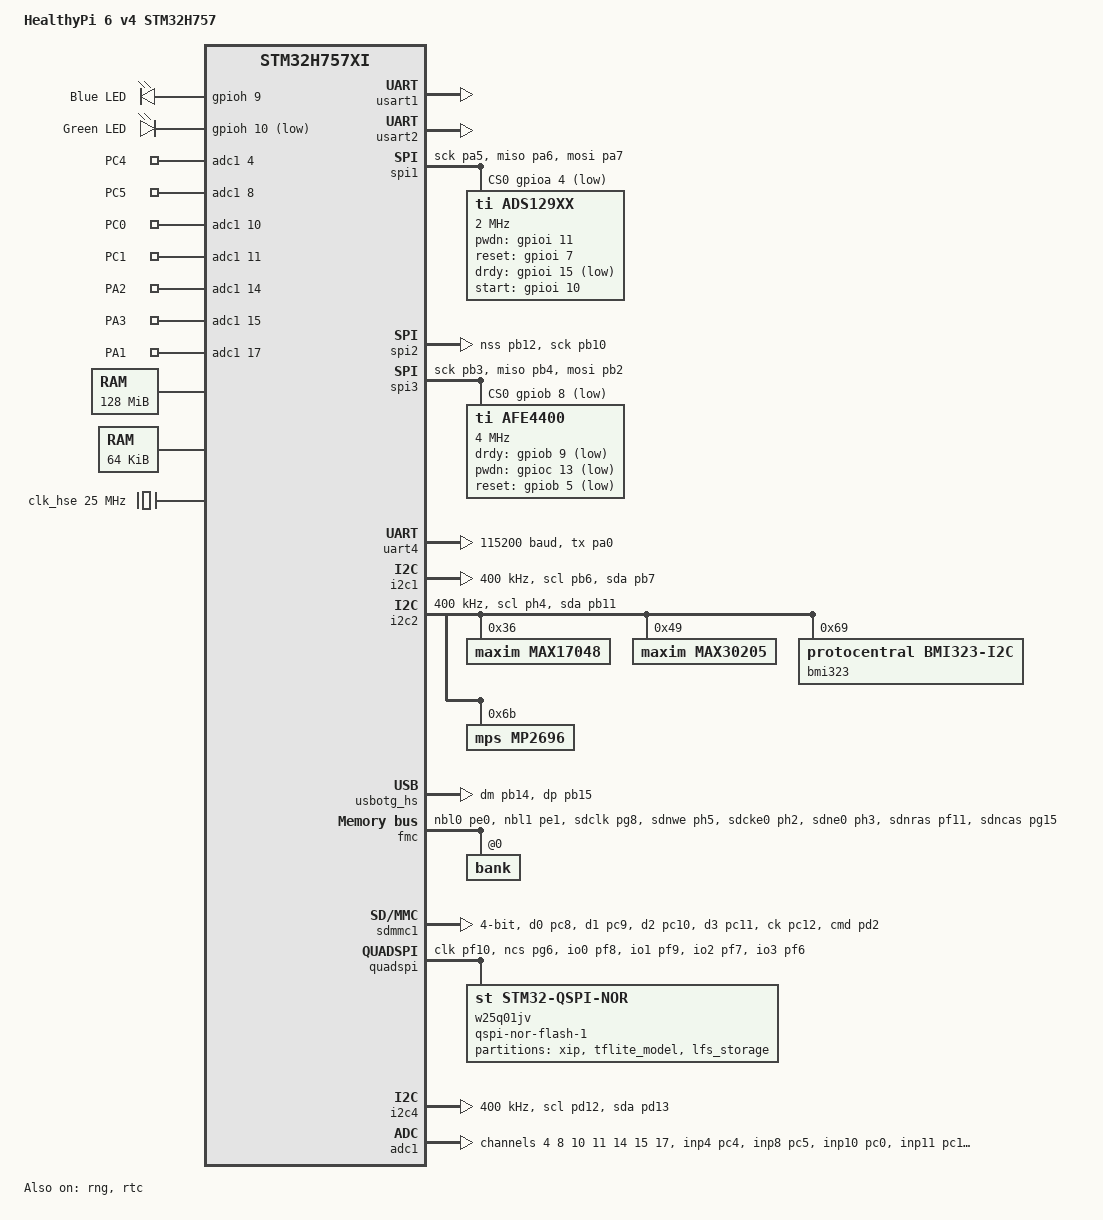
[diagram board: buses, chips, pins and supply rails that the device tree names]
/*
 * Copyright (c) 2019 Linaro Limited
 * Copyright (c) 2025-2026 ProtoCentral
 *
 * SPDX-License-Identifier: Apache-2.0
 */

/dts-v1/;
#include <st/h7/stm32h757Xi_m7.dtsi>
#include <st/h7/stm32h757bitx-pinctrl.dtsi>
#include <zephyr/dt-bindings/memory-attr/memory-attr-arm.h>
#include <zephyr/dt-bindings/adc/adc.h>
#include "healthypi6_v4.dtsi"

/* Custom pinctrl for UART4 RX - no pull-up (external resistor on board if needed) */
&pinctrl {
	uart4_rx_pi9_nopull: uart4_rx_pi9_nopull {
		pinmux = <STM32_PINMUX('I', 9, AF8)>;
		/* bias-pull-up disabled - rely on external pull-up if needed */
	};
};

/ {
	model = "HealthyPi 6 v4 STM32H757";
	compatible = "protocentral,healthypi6_v4";

	/* HW resources are split between CM7 and CM4 */
	chosen {
		zephyr,console = &usart1;
		zephyr,shell-uart = &usart1;
		zephyr,sram = &sram0;
		zephyr,flash = &flash0;
		zephyr,flash-controller = &w25q01jv;
		/* CDC 0 (cdc_acm_uart0) carries the one-way sample stream;
		 * CDC 1 (cdc_acm_uart1) carries MCUmgr SMP request/response. */
		zephyr,uart-mcumgr = &cdc_acm_uart1;
	};

	leds {
		compatible = "gpio-leds";
		blue_led: led_blue {
			gpios = <&gpioh 9 GPIO_ACTIVE_HIGH>;
			label = "Blue LED";
			status = "okay";
		};
		green_led: led_green {
			/* v4 hardware: LED is wired between VDD and PH10 via
			 * a current-limit resistor, so the pin sinks current
			 * when driven LOW = LED on. Declaring ACTIVE_LOW lets
			 * drivers use the polarity-agnostic GPIO_OUTPUT_ACTIVE
			 * / GPIO_OUTPUT_INACTIVE flags without inverting at
			 * each call site.
			 */
			gpios = <&gpioh 10 GPIO_ACTIVE_LOW>;
			label = "Green LED";
			status = "okay";
		};
	};

	/* HealthyLink per-slot power/fault/detect are modeled as
	 * "protocentral,healthylink-slot" nodes (healthylink_slot_a / _b) in
	 * healthypi6_v4.dtsi, alongside the healthylink controller + EEPROM. */

	aliases {
		blue-led = &blue_led;
		green-led = &green_led;
		/* Zephyr MCUmgr's os/datetime handler looks up the RTC via
		 * DT_ALIAS(rtc). Without this alias, datetime_get/set return
		 * ENOENT from the stock handler. */
		rtc = &rtc;
	};

	/* Expansion analog inputs (PA4-PA7 carry SPI1 instead). */
	zephyr,user {
		io-channels = <&adc1 4>,   /* PC4 - INP4 */
		              <&adc1 8>,   /* PC5 - INP8 */
		              <&adc1 10>,  /* PC0 - INP10 */
		              <&adc1 11>,  /* PC1 - INP11 */
		              <&adc1 14>,  /* PA2 - INP14 */
		              <&adc1 15>,  /* PA3 - INP15 */
		              <&adc1 17>;  /* PA1 - INP17 */
		io-channel-names = "PC4", "PC5", "PC0", "PC1",
		                   "PA2", "PA3", "PA1";
	};

	/* W9825G6KH SDRAM: 4M x 4 banks x 16 bits = 32 Megabytes
	 * Single chip connected to FMC SDRAM Bank 0 (SDNE0/SDCKE0)
	 * Address range: 0xC0000000 - 0xC1FFFFFF (32 MB)
	 */
	sdram1: sdram@c0000000 {
		compatible = "zephyr,memory-region", "mmio-sram";
		device_type = "memory";
		reg = <0xc0000000 DT_SIZE_M(32)>;  /* Full 32 MB of W9825G6KH */
		zephyr,memory-region = "SDRAM1";
		zephyr,memory-attr = <( DT_MEM_ARM(ATTR_MPU_RAM) )>;
	};

	ext_memory: memory@90000000 {
		compatible = "zephyr,memory-region";
		reg = <0x90000000 DT_SIZE_M(128)>; /* 1 Gbits */
		zephyr,memory-region = "EXTMEM";
		/* The ATTR_MPU_EXTMEM attribut causing a MPU FAULT */
		zephyr,memory-attr = <( DT_MEM_ARM(ATTR_MPU_IO) )>;
	};

	// IPC between CM7 and CM4 - OpenAMP/RPMSG Implementation
	// OpenAMP manages memory internally with static VRINGs (no dynamic allocation)
	sram_ipc: memory@38000000 {
		 zephyr,memory-region = "SRAM_IPC";
		 compatible = "zephyr,memory-region", "mmio-sram";
		 reg = <0x38000000 0x10000>;  // 64 KB total (full SRAM4)
		 zephyr,memory-attr = <( DT_MEM_ARM(ATTR_MPU_RAM_NOCACHE) )>;
	 };

	ipc0: ipc0 {
		compatible = "zephyr,ipc-openamp-static-vrings";
		memory-region = <&sram_ipc>;
		mboxes = <&mailbox 11>, <&mailbox 10>;
		mbox-names = "tx", "rx";
		role = "host";  // M7 is OpenAMP host, M4 is remote
		zephyr,buffer-size = <512>;  // Match largest message (ECG: 452 bytes)
		status = "okay";
	};
};

&clk_hse {
	clock-frequency = <DT_FREQ_M(25)>;
	status = "okay";
};

/* LSE 32.768 kHz crystal for RTC - battery-backed via VBAT pin */
&clk_lse {
	status = "okay";
	driving-capability = <3>;
};

&clk_hsi48 {
	status = "okay";
};

/* PLL1: 25 MHz / 5 = 5 MHz input × 160 = 800 MHz VCO
 *   P = 800/2 = 400 MHz (SYSCLK)
 *   Q = 800/4 = 200 MHz
 *   R = 800/2 = 400 MHz
 */
&pll {
	div-m = <5>;
	mul-n = <160>;
	div-p = <2>;
	div-q = <4>;
	div-r = <2>;
	clocks = <&clk_hse>;
	status = "okay";
};

/* PLL2: 25 MHz / 5 = 5 MHz input × 96 = 480 MHz VCO
 *   R = 480/10 = 48 MHz (SDMMC clock)
 */
&pll2 {
	div-m = <5>;
	mul-n = <96>;
	div-p = <2>;
	div-q = <4>;
	div-r = <10>;
	clocks = <&clk_hse>;
	status = "okay";
};

&rcc {
	clocks = <&pll>;
	clock-frequency = <DT_FREQ_M(400)>;
};

&usart1 {
	status = "okay";
};

&usart2 {
	status = "okay";
};

&spi1 {
	status = "okay";
	pinctrl-0 = <&spi1_sck_pa5 &spi1_miso_pa6 &spi1_mosi_pa7>;
	pinctrl-names = "default";
	cs-gpios = <&gpioa 4 GPIO_ACTIVE_LOW>;

	ads129xx: ads129xx@0 {
		compatible = "ti,ads129xx";
		reg = <0x00>;
		spi-max-frequency = <DT_FREQ_M(2)>;

		pwdn-gpios = <&gpioi 11 GPIO_ACTIVE_HIGH>;
		reset-gpios = <&gpioi 7 GPIO_ACTIVE_HIGH>;
		drdy-gpios = <&gpioi 15 GPIO_ACTIVE_LOW>;
		start-gpios = <&gpioi 10 GPIO_ACTIVE_HIGH>;

		gain = <6>;

		status = "okay";
	};
};

/* Enable DMA controllers for SPI2 */
&dma1 {
	status = "okay";
};

&dma2 {
	status = "okay";
};

&dmamux1 {
	status = "okay";
};

&spi2 {
	status = "okay";
	/* SPI2 configured for MASTER MODE to drive the ESP32-C6 (clock sourced from M7) */
	pinctrl-0 = <&spi2_nss_pb12 &spi2_sck_pb10
				&spi2_miso_pc2_c &spi2_mosi_pc3_c>;
	pinctrl-names = "default";

	/* DMA configuration for SPI2 */
	dmas = <&dmamux1 0 40 (STM32_DMA_PERIPH_TX | STM32_DMA_PRIORITY_HIGH)>,
		   <&dmamux1 1 39 (STM32_DMA_PERIPH_RX | STM32_DMA_PRIORITY_HIGH)>;
	dma-names = "tx", "rx";
};

&spi3 {
    status = "okay";
    pinctrl-0 = <&spi3_sck_pb3
		&spi3_miso_pb4 &spi3_mosi_pb2>;
    pinctrl-names = "default";
    cs-gpios = <&gpiob 8 GPIO_ACTIVE_LOW>;

	afe4400: afe4400@0 {
		label = "AFE4400";
		status = "okay";
		compatible = "ti,afe4400";
		reg = <0>;
		spi-max-frequency = <DT_FREQ_M(4)>;
		drdy-gpios = <&gpiob 9 GPIO_ACTIVE_LOW>;
		pwdn-gpios = <&gpioc 13 GPIO_ACTIVE_LOW>;
		reset-gpios = <&gpiob 5 GPIO_ACTIVE_LOW>;
	};
};

&uart4 {
	/* UART4 for MCUmgr SMP transport (ESP32 TCP-to-UART gateway)
	 * NOTE: DMA intentionally disabled for MCUmgr. Using interrupt-driven mode.
	 * FIFO enabled to reduce RX overrun when receiving SMP packets.
	 */
	status = "okay";
	pinctrl-0 = <&uart4_tx_pa0 &uart4_rx_pi9_nopull>;
	pinctrl-names = "default";
	current-speed = <115200>;
	fifo-enable;
};

&i2c1 {
	status = "okay";
	compatible = "st,stm32-i2c-v2";
	pinctrl-0 = <&i2c1_scl_pb6 &i2c1_sda_pb7>;
	pinctrl-names = "default";
	clock-frequency = <I2C_BITRATE_FAST>;
	sq-size = <1024>;
	cq-size = <1024>;
};


&i2c2 {
	status = "okay";
	pinctrl-0 = <&i2c2_scl_ph4 &i2c2_sda_pb11>;
	pinctrl-names = "default";
	clock-frequency = <I2C_BITRATE_FAST>;

	max17048: max17048@36 {
		compatible = "maxim,max17048";
		status = "okay";
		reg = <0x36>;
	};

	max30205: max30205@49 {
		compatible = "maxim,max30205";
		status = "okay";
		reg = <0x49>;
	};

	/* Bosch BMI323 6-axis IMU. SDO is strapped high on v4, so the
	 * 7-bit address is 0x69. Uses the local I2C fork of the upstream
	 * (SPI-only) bosch,bmi323 driver.
	 */
	bmi323: imu@69 {
		compatible = "protocentral,bmi323-i2c";
		status = "okay";
		reg = <0x69>;
	};

	/* MPS MP2696B single-cell Li-ion switching charger with boost. */
	mp2696: charger@6b {
		compatible = "mps,mp2696";
		status = "okay";
		reg = <0x6b>;
	};
};

&usbotg_hs {
	status = "okay";
};

&flash0 {
	partitions {
		compatible = "fixed-partitions";
		#address-cells = <1>;
		#size-cells = <1>;

		/* Set 2KB of storage at the end of first 1MB flash */
		storage_partition: partition@ff800 {
			label = "storage";
			reg = <0x000ff800 DT_SIZE_K(2)>;
		};
	};
};

&rng {
	status = "okay";
};

/* FMC Configuration for W9825G6KH SDRAM (32 MB) */
&fmc {
	status = "okay";
	pinctrl-0 = <&fmc_nbl0_pe0 &fmc_nbl1_pe1
	&fmc_sdclk_pg8 &fmc_sdnwe_ph5 &fmc_sdcke0_ph2
	&fmc_sdne0_ph3 &fmc_sdnras_pf11 &fmc_sdncas_pg15

	&fmc_a0_pf0 &fmc_a1_pf1 &fmc_a2_pf2 &fmc_a3_pf3 &fmc_a4_pf4
	&fmc_a5_pf5 &fmc_a6_pf12 &fmc_a7_pf13 &fmc_a8_pf14
	&fmc_a9_pf15 &fmc_a10_pg0 &fmc_a11_pg1 &fmc_a12_pg2
	/* BA0 */ &fmc_a14_pg4 /*BA1 */ &fmc_a15_pg5

	&fmc_d0_pd14 &fmc_d1_pd15 &fmc_d2_pd0 &fmc_d3_pd1
	&fmc_d4_pe7 &fmc_d5_pe8 &fmc_d6_pe9 &fmc_d7_pe10
	&fmc_d8_pe11 &fmc_d9_pe12 &fmc_d10_pe13 &fmc_d11_pe14
	&fmc_d12_pe15 &fmc_d13_pd8 &fmc_d14_pd9 &fmc_d15_pd10>;
	pinctrl-names = "default";

	sdram {
		status = "okay";

		power-up-delay = <100>;
		num-auto-refresh = <8>;
		mode-register = <0x220>;
		refresh-rate = <603>;

		/* W9825G6KH on FMC Bank 0 (SDNE0/SDCKE0) @ 0xC0000000 */
		bank@0 {
			reg = <0>;
			st,sdram-control = <STM32_FMC_SDRAM_NC_9
			STM32_FMC_SDRAM_NR_13
			STM32_FMC_SDRAM_MWID_16
			STM32_FMC_SDRAM_NB_4
			STM32_FMC_SDRAM_CAS_2
			STM32_FMC_SDRAM_SDCLK_PERIOD_2
			STM32_FMC_SDRAM_RBURST_ENABLE
			STM32_FMC_SDRAM_RPIPE_0>;
			st,sdram-timing = <2 6 4 6 2 2 2>;
		};
	};
};

&sdmmc1 {
	status = "okay";
	clocks = <&rcc STM32_CLOCK_BUS_AHB3 0x00010000>,
	         <&rcc STM32_SRC_PLL2_R SDMMC_SEL(1)>;
	pinctrl-0 = <&sdmmc1_d0_pc8 &sdmmc1_d1_pc9
	&sdmmc1_d2_pc10 &sdmmc1_d3_pc11
	&sdmmc1_ck_pc12 &sdmmc1_cmd_pd2>;
	bus-width = <4>;
	disk-name = "SD";
	pinctrl-names = "default";
	/* No card detect pin on v4 hardware - card assumed always present */
};

&clk_hsi48 {
	status = "okay";
};


zephyr_udc0: &usbotg_hs {
	status = "okay";
	pinctrl-0 = <&usb_otg_hs_dm_pb14 &usb_otg_hs_dp_pb15>;
	pinctrl-names = "default";
	/* CDC 0 -- one-way sample-stream pipe (device -> host). */
	cdc_acm_uart0: cdc_acm_uart0 {
		compatible = "zephyr,cdc-acm-uart";
	};
	/* CDC 1 -- MCUmgr SMP control pipe (bidirectional); bound to
	 * zephyr,uart-mcumgr in the `chosen` node above. */
	cdc_acm_uart1: cdc_acm_uart1 {
		compatible = "zephyr,cdc-acm-uart";
	};
};

&mailbox {
	status = "okay";
};

&backup_sram{
	status = "okay";
};

/* RTC - Real-Time Clock with battery backup */
&rtc {
	status = "okay";
	clocks = <&rcc STM32_CLOCK_BUS_APB4 0x00010000>,
	         <&rcc STM32_SRC_LSE RTC_SEL(1)>;
};

/*
 * QUADSPI Configuration - Full Quad-SPI Mode (v4)
 *
 * v4 restores full quad-SPI (4-bit) mode by routing IO2/IO3 to PF7/PF6,
 * eliminating the PE2 conflict with SPI4 that forced dual-SPI in v2.
 *
 * Quad reads are ~4x dual. writeoc MUST stay PP_1_1_4: the W25Q01JV does not
 * implement the default PP_1_4_4 (0x38) opcode, and writes through it are
 * corrupted.
 */
&quadspi {
	pinctrl-0 = <&quadspi_clk_pf10 &quadspi_bk1_ncs_pg6
	&quadspi_bk1_io0_pf8 &quadspi_bk1_io1_pf9
	&quadspi_bk1_io2_pf7 &quadspi_bk1_io3_pf6>;
	pinctrl-names = "default";
	status = "okay";

	w25q01jv: qspi-nor-flash-1@90000000 {
		compatible = "st,stm32-qspi-nor";
		reg = <0x90000000>;
		size = <1073741824>; /* 128 MBytes */
		qspi-max-frequency = <48000000>;
		spi-bus-width = <4>;
		quad-enable-requirements = "S2B1v1";
		writeoc = "PP_1_1_4";
		status = "okay";

		partitions {
			compatible = "fixed-partitions";
			#address-cells = <1>;
			#size-cells = <1>;

			/* XIP (Execute In Place) partition - 56MB for code/assets */
			xip_partition: partition@0 {
				label = "xip";
				reg = <0x0 DT_SIZE_M(56)>;
			};

			/* Model storage - 8 MB, XIP-addressable */
			model_partition: partition@3800000 {
				label = "tflite_model";
				reg = <0x3800000 DT_SIZE_M(8)>;
			};

			/* LittleFS storage partition - Second 64MB */
			lfs_partition: partition@4000000 {
				label = "lfs_storage";
				reg = <0x4000000 DT_SIZE_M(64)>;
			};
		};
	};
};

/* alias used by display shields with touch control */
qsh_030_i2c: &i2c4 {
	pinctrl-0 = <&i2c4_scl_pd12 &i2c4_sda_pd13>;
	pinctrl-names = "default";
	clock-frequency = <I2C_BITRATE_FAST>;
	status = "okay";
};

/* aliases used by display configuration */
zephyr_mipi_dsi: &mipi_dsi {};
zephyr_lcd_controller: &ltdc {};

/* SRAM2 - Non-cached memory for DMA buffers */
&sram2 {
	status = "okay";
	zephyr,memory-attr = <( DT_MEM_ARM(ATTR_MPU_RAM_NOCACHE) )>;
};

/* Internal ADC1 for biosignal acquisition
 * v4: PA4/PA5/PA6/PA7 removed (reassigned to SPI1 for ADS1292R)
 * Remaining channels: PA1-PA3, PC0, PC1, PC4, PC5
 */
&adc1 {
	status = "okay";
	#address-cells = <1>;
	#size-cells = <0>;

	pinctrl-0 = <&adc1_inp4_pc4 &adc1_inp8_pc5
	             &adc1_inp10_pc0 &adc1_inp11_pc1 &adc1_inp14_pa2 &adc1_inp15_pa3
	             &adc1_inp17_pa1>;
	pinctrl-names = "default";

	/* ADC clock configuration for STM32H7 - use synchronous bus clock */
	st,adc-clock-source = "SYNC";
	st,adc-prescaler = <4>;

	/* PC4 - ADC1_INP4 */
	channel@4 {
		reg = <4>;
		zephyr,gain = "ADC_GAIN_1";
		zephyr,reference = "ADC_REF_INTERNAL";
		zephyr,acquisition-time = <ADC_ACQ_TIME(ADC_ACQ_TIME_TICKS, 811)>;
		zephyr,resolution = <16>;
	};

	/* PC5 - ADC1_INP8 */
	channel@8 {
		reg = <8>;
		zephyr,gain = "ADC_GAIN_1";
		zephyr,reference = "ADC_REF_INTERNAL";
		zephyr,acquisition-time = <ADC_ACQ_TIME(ADC_ACQ_TIME_TICKS, 811)>;
		zephyr,resolution = <16>;
	};

	/* PC0 - ADC1_INP10 */
	channel@a {
		reg = <10>;
		zephyr,gain = "ADC_GAIN_1";
		zephyr,reference = "ADC_REF_INTERNAL";
		zephyr,acquisition-time = <ADC_ACQ_TIME(ADC_ACQ_TIME_TICKS, 811)>;
		zephyr,resolution = <16>;
	};

	/* PC1 - ADC1_INP11 */
	channel@b {
		reg = <11>;
		zephyr,gain = "ADC_GAIN_1";
		zephyr,reference = "ADC_REF_INTERNAL";
		zephyr,acquisition-time = <ADC_ACQ_TIME(ADC_ACQ_TIME_TICKS, 811)>;
		zephyr,resolution = <16>;
	};

	/* PA2 - ADC1_INP14 */
	channel@e {
		reg = <14>;
		zephyr,gain = "ADC_GAIN_1";
		zephyr,reference = "ADC_REF_INTERNAL";
		zephyr,acquisition-time = <ADC_ACQ_TIME(ADC_ACQ_TIME_TICKS, 811)>;
		zephyr,resolution = <16>;
	};

	/* PA3 - ADC1_INP15 */
	channel@f {
		reg = <15>;
		zephyr,gain = "ADC_GAIN_1";
		zephyr,reference = "ADC_REF_INTERNAL";
		zephyr,acquisition-time = <ADC_ACQ_TIME(ADC_ACQ_TIME_TICKS, 811)>;
		zephyr,resolution = <16>;
	};

	/* PA1 - ADC1_INP17 */
	channel@11 {
		reg = <17>;
		zephyr,gain = "ADC_GAIN_1";
		zephyr,reference = "ADC_REF_INTERNAL";
		zephyr,acquisition-time = <ADC_ACQ_TIME(ADC_ACQ_TIME_TICKS, 811)>;
		zephyr,resolution = <16>;
	};
};

/* HealthyPi 6 v4 power supply: SMPS + LDO cascade mode.
 *
 * The v4 board has SMPS inductor + filter populated. The SMPS generates 1.8V
 * which feeds the internal LDO; the LDO then regulates Vcore to ~1.0V.
 * This matches the reset default (SMPSEN=1, LDOEN=1) and is proven stable
 * by the system bootloader running in this mode.
 *
 * Do NOT use "smps-direct" — the external LC filter is designed for cascade
 * topology, not direct SMPS-to-Vcore regulation.
 */
&pwr {
	power-supply = "smps-ldo";
	smps-output-voltage = "1V8";
};
